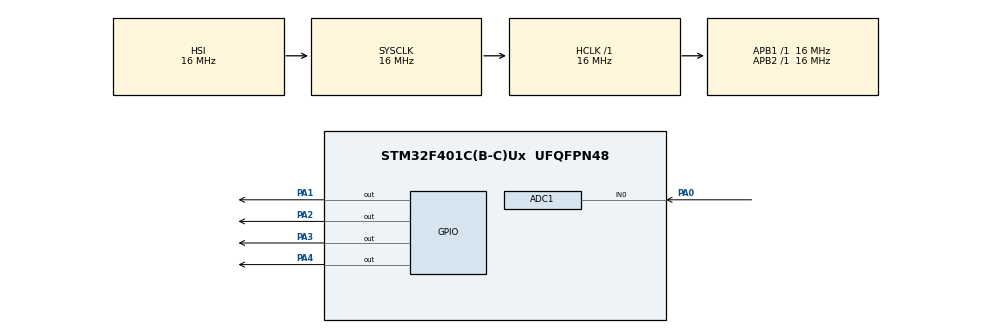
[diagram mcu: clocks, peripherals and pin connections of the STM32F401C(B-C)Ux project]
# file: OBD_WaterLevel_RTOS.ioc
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ADC1.Channel-0\#ChannelRegularConversion=ADC_CHANNEL_0
ADC1.ContinuousConvMode=ENABLE
ADC1.NbrOfConversionFlag=1
ADC1.Rank-0\#ChannelRegularConversion=1
ADC1.SamplingTime-0\#ChannelRegularConversion=ADC_SAMPLETIME_3CYCLES
ADC1.master=1
FREERTOS.Tasks01=fuelLevelTask1,24,128,getFuelLevelFromADC,Default,NULL,Dynamic,NULL,NULL;fuelLevelTask2,8,128,mapFuelLevelDigitalToLeds,Default,NULL,Dynamic,NULL,NULL
Mcu.Family=STM32F4
Mcu.Name=STM32F401C(B-C)Ux
Mcu.Package=UFQFPN48
NVIC.ADC_IRQn=true\:5\:0\:false\:false\:true\:true\:true\:true\:true
NVIC.PriorityGroup=NVIC_PRIORITYGROUP_4
PA0-WKUP.Signal=ADCx_IN0
PA1.GPIO_PuPd=GPIO_NOPULL
PA1.Signal=GPIO_Output
PA2.GPIO_PuPd=GPIO_NOPULL
PA2.Signal=GPIO_Output
PA3.GPIO_PuPd=GPIO_NOPULL
PA3.Signal=GPIO_Output
PA4.GPIO_PuPd=GPIO_NOPULL
PA4.Signal=GPIO_Output
ProjectManager.HeapSize=0x200
ProjectManager.StackSize=0x400
ProjectManager.TargetToolchain=STM32CubeIDE
RCC.AHBFreq_Value=16000000
RCC.APB1Freq_Value=16000000
RCC.APB2Freq_Value=16000000
RCC.CortexFreq_Value=16000000
RCC.HSE_VALUE=25000000
RCC.HSI_VALUE=16000000
RCC.LSE_VALUE=32768
RCC.SYSCLKFreq_VALUE=16000000
RCC.VCOOutputFreq_Value=192000000
SH.ADCx_IN0.0=ADC1_IN0,IN0
VP_FREERTOS_VS_CMSIS_V2.Mode=CMSIS_V2
board=custom

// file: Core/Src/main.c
/* USER CODE BEGIN Header */
/**
 ******************************************************************************
 * @file           : main.c
 * @brief          : Main program body
 ******************************************************************************
 * @attention
 *
 * Copyright (c) 2023 STMicroelectronics.
 * All rights reserved.
 *
 * This software is licensed under terms that can be found in the LICENSE file
 * in the root directory of this software component.
 * If no LICENSE file comes with this software, it is provided AS-IS.
 *
 ******************************************************************************
 */
/* USER CODE END Header */
#include "main.h"
#include "cmsis_os.h"

/* USER CODE BEGIN PD */
#define FUEL_SENSOR_PIN				GPIO_PIN_0
#define FUEL_SENSOR_PORT			GPIOA

#define FUEL_LED0_PIN				GPIO_PIN_1
#define FUEL_LED0_PORT				GPIOA

#define FUEL_LED1_PIN				GPIO_PIN_2
#define FUEL_LED1_PORT				GPIOA

#define FUEL_LED2_PIN				GPIO_PIN_3
#define FUEL_LED2_PORT				GPIOA

#define FUEL_LED3_PIN				GPIO_PIN_4
#define FUEL_LED3_PORT				GPIOA

#define FUEL_MAX_DIGITA_VALUE		2000
#define FUEL_MINIMUM_DIGITA_VALUE	180

/* USER CODE END PD */

ADC_HandleTypeDef hadc1;

/* Definitions for fuelLevelTask1 */
osThreadId_t fuelLevelTask1Handle;
const osThreadAttr_t fuelLevelTask1_attributes = {
		.name = "fuelLevelTask1",
		.stack_size = 128 * 4,
		.priority = (osPriority_t) osPriorityNormal,
};
/* Definitions for fuelLevelTask2 */
osThreadId_t fuelLevelTask2Handle;
const osThreadAttr_t fuelLevelTask2_attributes = {
		.name = "fuelLevelTask2",
		.stack_size = 128 * 4,
		.priority = (osPriority_t) osPriorityLow,
};
/* USER CODE BEGIN PV */
uint32_t adcValue ;
/* USER CODE END PV */

void SystemClock_Config(void);
static void MX_GPIO_Init(void);
static void MX_ADC1_Init(void);
void getFuelLevelFromADC(void *argument);
void mapFuelLevelDigitalToLeds(void *argument);

/* USER CODE BEGIN PFP */
uint32_t convertDigitalToLevel(uint32_t digitalValue);
void mapDigitalvalueToLeds(uint32_t digitalValue);

/* USER CODE END PFP */

int main(void)
{

	/* MCU Configuration--------------------------------------------------------*/

	/* Reset of all peripherals, Initializes the Flash interface and the Systick. */
	HAL_Init();

	/* Configure the system clock */
	SystemClock_Config();

	/* Initialize all configured peripherals */
	MX_GPIO_Init();
	MX_ADC1_Init();

	/* Init scheduler */
	osKernelInitialize();

	/* Create the thread(s) */
	/* creation of fuelLevelTask1 */
	fuelLevelTask1Handle = osThreadNew(getFuelLevelFromADC, NULL, &fuelLevelTask1_attributes);

	/* creation of fuelLevelTask2 */
	fuelLevelTask2Handle = osThreadNew(mapFuelLevelDigitalToLeds, NULL, &fuelLevelTask2_attributes);

	/* Start scheduler */
	osKernelStart();

	/* We should never get here as control is now taken by the scheduler */
	/* Infinite loop */
	while (1)
	{

	}
}

void SystemClock_Config(void)
{
	RCC_OscInitTypeDef RCC_OscInitStruct = {0};
	RCC_ClkInitTypeDef RCC_ClkInitStruct = {0};

	/** Configure the main internal regulator output voltage
	 */
	__HAL_RCC_PWR_CLK_ENABLE();
	__HAL_PWR_VOLTAGESCALING_CONFIG(PWR_REGULATOR_VOLTAGE_SCALE2);

	/** Initializes the RCC Oscillators according to the specified parameters
	 * in the RCC_OscInitTypeDef structure.
	 */
	RCC_OscInitStruct.OscillatorType = RCC_OSCILLATORTYPE_HSI;
	RCC_OscInitStruct.HSIState = RCC_HSI_ON;
	RCC_OscInitStruct.HSICalibrationValue = RCC_HSICALIBRATION_DEFAULT;
	RCC_OscInitStruct.PLL.PLLState = RCC_PLL_NONE;
	if (HAL_RCC_OscConfig(&RCC_OscInitStruct) != HAL_OK)
	{
		Error_Handler();
	}

	/** Initializes the CPU, AHB and APB buses clocks
	 */
	RCC_ClkInitStruct.ClockType = RCC_CLOCKTYPE_HCLK|RCC_CLOCKTYPE_SYSCLK
			|RCC_CLOCKTYPE_PCLK1|RCC_CLOCKTYPE_PCLK2;
	RCC_ClkInitStruct.SYSCLKSource = RCC_SYSCLKSOURCE_HSI;
	RCC_ClkInitStruct.AHBCLKDivider = RCC_SYSCLK_DIV1;
	RCC_ClkInitStruct.APB1CLKDivider = RCC_HCLK_DIV1;
	RCC_ClkInitStruct.APB2CLKDivider = RCC_HCLK_DIV1;

	if (HAL_RCC_ClockConfig(&RCC_ClkInitStruct, FLASH_LATENCY_0) != HAL_OK)
	{
		Error_Handler();
	}
}

static void MX_ADC1_Init(void)
{

	ADC_ChannelConfTypeDef sConfig = {0};

	/** Configure the global features of the ADC (Clock, Resolution, Data Alignment and number of conversion)
	 */
	hadc1.Instance = ADC1;
	hadc1.Init.ClockPrescaler = ADC_CLOCK_SYNC_PCLK_DIV2;
	hadc1.Init.Resolution = ADC_RESOLUTION_12B;
	hadc1.Init.ScanConvMode = DISABLE;
	hadc1.Init.ContinuousConvMode = ENABLE;
	hadc1.Init.DiscontinuousConvMode = DISABLE;
	hadc1.Init.ExternalTrigConvEdge = ADC_EXTERNALTRIGCONVEDGE_NONE;
	hadc1.Init.ExternalTrigConv = ADC_SOFTWARE_START;
	hadc1.Init.DataAlign = ADC_DATAALIGN_RIGHT;
	hadc1.Init.NbrOfConversion = 1;
	hadc1.Init.DMAContinuousRequests = DISABLE;
	hadc1.Init.EOCSelection = ADC_EOC_SINGLE_CONV;
	if (HAL_ADC_Init(&hadc1) != HAL_OK)
	{
		Error_Handler();
	}

	/** Configure for the selected ADC regular channel its corresponding rank in the sequencer and its sample time.
	 */
	sConfig.Channel = ADC_CHANNEL_0;
	sConfig.Rank = 1;
	sConfig.SamplingTime = ADC_SAMPLETIME_3CYCLES;
	if (HAL_ADC_ConfigChannel(&hadc1, &sConfig) != HAL_OK)
	{
		Error_Handler();
	}

}

static void MX_GPIO_Init(void)
{
	GPIO_InitTypeDef GPIO_InitStruct = {0};

	/* GPIO Ports Clock Enable */
	__HAL_RCC_GPIOA_CLK_ENABLE();

	/*Configure GPIO pin Output Level */
	HAL_GPIO_WritePin(GPIOA, GPIO_PIN_1|GPIO_PIN_2|GPIO_PIN_3|GPIO_PIN_4, GPIO_PIN_RESET);

	/*Configure GPIO pins : PA1 PA2 PA3 PA4 */
	GPIO_InitStruct.Pin = GPIO_PIN_1|GPIO_PIN_2|GPIO_PIN_3|GPIO_PIN_4;
	GPIO_InitStruct.Mode = GPIO_MODE_OUTPUT_PP;
	GPIO_InitStruct.Pull = GPIO_NOPULL;
	GPIO_InitStruct.Speed = GPIO_SPEED_FREQ_LOW;
	HAL_GPIO_Init(GPIOA, &GPIO_InitStruct);

}

/* USER CODE BEGIN 4 */

void mapDigitalvalueToLeds(uint32_t digitalValue){
	//empty tank
	if (digitalValue <= FUEL_MINIMUM_DIGITA_VALUE){
		HAL_GPIO_WritePin(FUEL_LED0_PORT, FUEL_LED0_PIN,GPIO_PIN_SET);
		HAL_GPIO_WritePin(FUEL_LED1_PORT, FUEL_LED1_PIN,GPIO_PIN_SET);
		HAL_GPIO_WritePin(FUEL_LED2_PORT, FUEL_LED2_PIN,GPIO_PIN_SET);
		HAL_GPIO_WritePin(FUEL_LED3_PORT, FUEL_LED3_PIN,GPIO_PIN_SET);
	}
	//quarter tank
	else if (digitalValue <= (FUEL_MAX_DIGITA_VALUE - FUEL_MINIMUM_DIGITA_VALUE)/4){
		HAL_GPIO_WritePin(FUEL_LED0_PORT, FUEL_LED0_PIN,GPIO_PIN_SET);
		HAL_GPIO_WritePin(FUEL_LED1_PORT, FUEL_LED1_PIN,GPIO_PIN_SET);
		HAL_GPIO_WritePin(FUEL_LED2_PORT, FUEL_LED2_PIN,GPIO_PIN_SET);
		HAL_GPIO_WritePin(FUEL_LED3_PORT, FUEL_LED3_PIN,GPIO_PIN_RESET);
	}
	//Half tank
	else if (digitalValue <= (FUEL_MAX_DIGITA_VALUE - FUEL_MINIMUM_DIGITA_VALUE)/2){
		HAL_GPIO_WritePin(FUEL_LED0_PORT, FUEL_LED0_PIN,GPIO_PIN_SET);
		HAL_GPIO_WritePin(FUEL_LED1_PORT, FUEL_LED1_PIN,GPIO_PIN_SET);
		HAL_GPIO_WritePin(FUEL_LED2_PORT, FUEL_LED2_PIN,GPIO_PIN_RESET);
		HAL_GPIO_WritePin(FUEL_LED3_PORT, FUEL_LED3_PIN,GPIO_PIN_RESET);
	}
	//3 quarters tank
	else if (digitalValue <= (FUEL_MAX_DIGITA_VALUE - FUEL_MINIMUM_DIGITA_VALUE)/4*3){

		HAL_GPIO_WritePin(FUEL_LED0_PORT, FUEL_LED0_PIN,GPIO_PIN_SET);
		HAL_GPIO_WritePin(FUEL_LED1_PORT, FUEL_LED1_PIN,GPIO_PIN_RESET);
		HAL_GPIO_WritePin(FUEL_LED2_PORT, FUEL_LED2_PIN,GPIO_PIN_RESET);
		HAL_GPIO_WritePin(FUEL_LED3_PORT, FUEL_LED3_PIN,GPIO_PIN_RESET);
	}
	//Full tank
	else if (digitalValue <= (FUEL_MAX_DIGITA_VALUE - FUEL_MINIMUM_DIGITA_VALUE)){

		HAL_GPIO_WritePin(FUEL_LED0_PORT, FUEL_LED0_PIN,GPIO_PIN_RESET);
		HAL_GPIO_WritePin(FUEL_LED1_PORT, FUEL_LED1_PIN,GPIO_PIN_RESET);
		HAL_GPIO_WritePin(FUEL_LED2_PORT, FUEL_LED2_PIN,GPIO_PIN_RESET);
		HAL_GPIO_WritePin(FUEL_LED3_PORT, FUEL_LED3_PIN,GPIO_PIN_RESET);
	}
}
/* USER CODE END 4 */

void getFuelLevelFromADC(void *argument)
{
	/* USER CODE BEGIN 5 */
	/* Infinite loop */
	for(;;)
	{
		HAL_ADC_Start(&hadc1);
		HAL_ADC_PollForConversion(&hadc1, 100);
		adcValue = HAL_ADC_GetValue(&hadc1);
		HAL_ADC_Stop(&hadc1);
		osDelay(1);
	}
	/* USER CODE END 5 */
}

void mapFuelLevelDigitalToLeds(void *argument)
{
	/* USER CODE BEGIN mapFuelLevelDigitalToLeds */
	/* Infinite loop */
	for(;;)
	{
		mapDigitalvalueToLeds(adcValue);
		osDelay(1);
	}
	/* USER CODE END mapFuelLevelDigitalToLeds */
}

void Error_Handler(void)
{
	__disable_irq();
	while (1)
	{
	}
}
